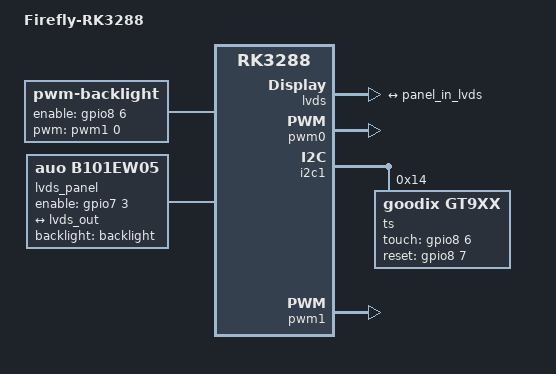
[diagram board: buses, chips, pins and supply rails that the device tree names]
/*
 * Copyright (c) 2014, 2015 FUKAUMI Naoki <naobsd@gmail.com>
 *
 * This file is dual-licensed: you can use it either under the terms
 * of the GPL or the X11 license, at your option. Note that this dual
 * licensing only applies to this file, and not this project as a
 * whole.
 *
 *  a) This file is free software; you can redistribute it and/or
 *     modify it under the terms of the GNU General Public License as
 *     published by the Free Software Foundation; either version 2 of the
 *     License, or (at your option) any later version.
 *
 *     This file is distributed in the hope that it will be useful,
 *     but WITHOUT ANY WARRANTY; without even the implied warranty of
 *     MERCHANTABILITY or FITNESS FOR A PARTICULAR PURPOSE.  See the
 *     GNU General Public License for more details.
 *
 * Or, alternatively,
 *
 *  b) Permission is hereby granted, free of charge, to any person
 *     obtaining a copy of this software and associated documentation
 *     files (the "Software"), to deal in the Software without
 *     restriction, including without limitation the rights to use,
 *     copy, modify, merge, publish, distribute, sublicense, and/or
 *     sell copies of the Software, and to permit persons to whom the
 *     Software is furnished to do so, subject to the following
 *     conditions:
 *
 *     The above copyright notice and this permission notice shall be
 *     included in all copies or substantial portions of the Software.
 *
 *     THE SOFTWARE IS PROVIDED "AS IS", WITHOUT WARRANTY OF ANY KIND,
 *     EXPRESS OR IMPLIED, INCLUDING BUT NOT LIMITED TO THE WARRANTIES
 *     OF MERCHANTABILITY, FITNESS FOR A PARTICULAR PURPOSE AND
 *     NONINFRINGEMENT. IN NO EVENT SHALL THE AUTHORS OR COPYRIGHT
 *     HOLDERS BE LIABLE FOR ANY CLAIM, DAMAGES OR OTHER LIABILITY,
 *     WHETHER IN AN ACTION OF CONTRACT, TORT OR OTHERWISE, ARISING
 *     FROM, OUT OF OR IN CONNECTION WITH THE SOFTWARE OR THE USE OR
 *     OTHER DEALINGS IN THE SOFTWARE.
 */

/dts-v1/;

#include "rk3288-firefly.dtsi"
#include <dt-bindings/pwm/pwm.h>
#include <dt-bindings/input/input.h>
#include <dt-bindings/display/rk_fb.h>

/ {
	model = "Firefly-RK3288";
	compatible = "firefly,firefly-rk3288", "rockchip,rk3288";

	
	backlight: backlight {
		compatible = "pwm-backlight";
		brightness-levels = <
			  0   1   2   3   4   5   6   7
			  8   9  10  11  12  13  14  15
			 16  17  18  19  20  21  22  23
			 24  25  26  27  28  29  30  31
			 32  33  34  35  36  37  38  39
			 40  41  42  43  44  45  46  47
			 48  49  50  51  52  53  54  55
			 56  57  58  59  60  61  62  63
			 64  65  66  67  68  69  70  71
			 72  73  74  75  76  77  78  79
			 80  81  82  83  84  85  86  87
			 88  89  90  91  92  93  94  95
			 96  97  98  99 100 101 102 103
			104 105 106 107 108 109 110 111
			112 113 114 115 116 117 118 119
			120 121 122 123 124 125 126 127
			128 129 130 131 132 133 134 135
			136 137 138 139 140 141 142 143
			144 145 146 147 148 149 150 151
			152 153 154 155 156 157 158 159
			160 161 162 163 164 165 166 167
			168 169 170 171 172 173 174 175
			176 177 178 179 180 181 182 183
			184 185 186 187 188 189 190 191
			192 193 194 195 196 197 198 199
			200 201 202 203 204 205 206 207
			208 209 210 211 212 213 214 215
			216 217 218 219 220 221 222 223
			224 225 226 227 228 229 230 231
			232 233 234 235 236 237 238 239
			240 241 242 243 244 245 246 247
			248 249 250 251 252 253 254 255>;
		default-brightness-level = <128>;
		/*enable-gpios = <&gpio7 2 GPIO_ACTIVE_HIGH>;*/
		enable-gpios = <&gpio8 6 GPIO_ACTIVE_HIGH>;
		pinctrl-names = "default";
		pinctrl-0 = <&bl_en>;
		pwms = <&pwm1 0 10000 PWM_POLARITY_INVERTED>;
		/*pwms = <&pwm0 0 1000000 PWM_POLARITY_INVERTED>;*/
		status = "okay";
	};

	lvds_panel: lvds_panel {
		compatible ="auo,b101ew05","simple-panel";
		backlight = <&backlight>;
		/*enable-gpios = <&gpio7 4 GPIO_ACTIVE_HIGH>;*/
		enable-gpios = <&gpio7 3 GPIO_ACTIVE_HIGH>;
		rockchip,data-mapping = "jeida";
		rockchip,data-width = <24>;
		rockchip,output = "lvds";
		pinctrl-0 = <&lcd_cs>;
		status = "okay";
		display-timings {
                        native-mode = <&timing0>;
                        timing0: timing0 {
                                screen-type = <SCREEN_LVDS>;
                                lvds-format = <LVDS_8BIT_2>;
                                out-face    = <OUT_D888_P666>;
                                clock-frequency = <71000000>;
                                hactive = <1280>;
                                vactive = <800>;
                                hback-porch = <100>;
                                hfront-porch = <18>;
                                vback-porch = <8>;
                                vfront-porch = <6>;
                                hsync-len = <10>;
                                vsync-len = <2>;
                                hsync-active = <0>;
                                vsync-active = <0>;
                                de-active = <0>;
                                pixelclk-active = <0>;
                        };
               };

		ports {
			panel_in_lvds: endpoint {
				remote-endpoint = <&lvds_out>;
			};
		};
	};

	sound {
		compatible = "simple-audio-card";
		simple-audio-card,format = "i2s";
		simple-audio-card,name = "rockchip,fennec-codec";
		simple-audio-card,mclk-fs = <512>;

		simple-audio-card,dai-link@0 {
			format = "i2s";
			cpu {
				sound-dai = <&i2s>;
			};
			codec {
				sound-dai = <&hdmi>;
			};

		};

		simple-audio-card,dai-link@1 {
			format = "i2s";
			cpu {
				sound-dai = <&i2s>;
			};

			codec {
				sound-dai = <&es8323>;
			};
		};
	};

};


&lvds {
	avdd1v0-supply = <&vdd10_lcd>;
	avdd1v8-supply = <&vcc18_lcd>;
	avdd3v3-supply = <&vcca_33>;
	rockchip,data-mapping = "jeida";
	rockchip,data-width = <24>;
	rockchip,output = "lvds";
	status = "okay";

	ports {
		port@1 {
			reg = <1>;

			#address-cells = <1>;
			#size-cells = <0>;

			lvds_out: endpoint@0 {
				remote-endpoint = <&panel_in_lvds>;
			};
		};
	};
};

&pwm0 {
	status = "okay";
};

&i2c1 {
	status = "okay";
	ts@14 {
		compatible = "goodix,gt9xx";
		reg = <0x14>;
		touch-gpio = <&gpio8 6 IRQ_TYPE_LEVEL_HIGH>;
		reset-gpio = <&gpio8 7 GPIO_ACTIVE_HIGH>;
		max-x = <1280>;
		max-y = <800>;
		tp-size = <928>;
	};
};

&pinctrl {
	backlight {
		bl_en: bl-en {
			/*rockchip,pins = <7 2 RK_FUNC_GPIO &pcfg_pull_none>;*/
			rockchip,pins = <7 3 RK_FUNC_GPIO &pcfg_pull_none>;
		};
	};

	lcd {
		lcd_cs: lcd-cs {
			rockchip,pins = <7 4 RK_FUNC_GPIO &pcfg_pull_none>;
		};
	};

};

&ir {
	gpios = <&gpio7 0 GPIO_ACTIVE_LOW>;
};

&pinctrl {
	act8846 {
		pmic_vsel: pmic-vsel {
			rockchip,pins = <7 14 RK_FUNC_GPIO &pcfg_output_low>;
		};
	};

	ir {
		ir_int: ir-int {
			rockchip,pins = <7 0 RK_FUNC_GPIO &pcfg_pull_up>;
		};
	};
};

&pwm1 {
	status = "okay";
};
